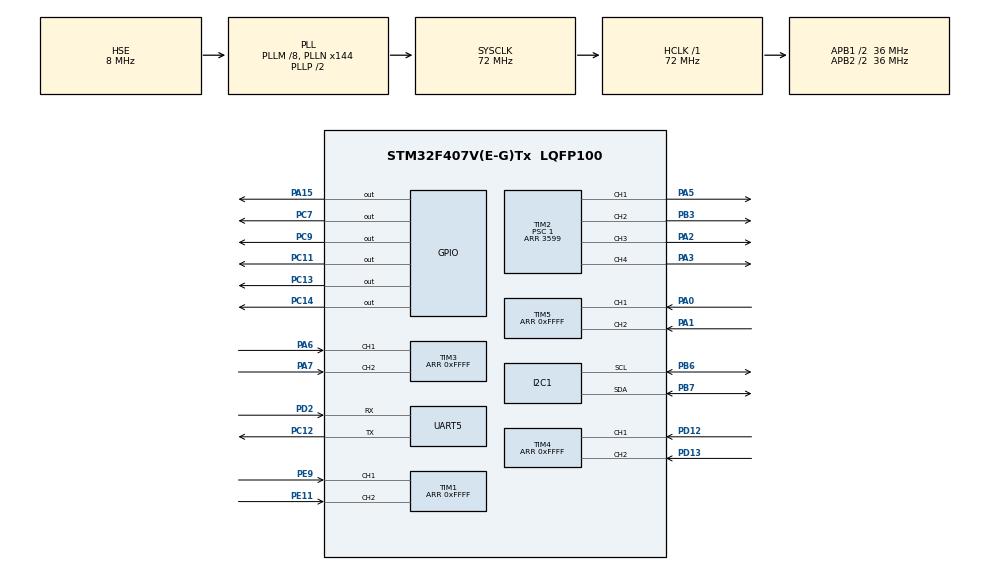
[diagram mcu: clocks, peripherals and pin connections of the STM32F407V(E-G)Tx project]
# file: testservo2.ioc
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Dma.Request0=UART5_RX
Dma.Request1=UART5_TX
Dma.UART5_RX.0.Direction=DMA_PERIPH_TO_MEMORY
Dma.UART5_RX.0.FIFOMode=DMA_FIFOMODE_DISABLE
Dma.UART5_RX.0.Instance=DMA1_Stream0
Dma.UART5_RX.0.MemDataAlignment=DMA_MDATAALIGN_BYTE
Dma.UART5_RX.0.MemInc=DMA_MINC_ENABLE
Dma.UART5_RX.0.Mode=DMA_NORMAL
Dma.UART5_RX.0.PeriphDataAlignment=DMA_PDATAALIGN_BYTE
Dma.UART5_RX.0.PeriphInc=DMA_PINC_DISABLE
Dma.UART5_RX.0.Priority=DMA_PRIORITY_HIGH
Dma.UART5_TX.1.Direction=DMA_MEMORY_TO_PERIPH
Dma.UART5_TX.1.FIFOMode=DMA_FIFOMODE_DISABLE
Dma.UART5_TX.1.Instance=DMA1_Stream7
Dma.UART5_TX.1.MemDataAlignment=DMA_MDATAALIGN_BYTE
Dma.UART5_TX.1.MemInc=DMA_MINC_ENABLE
Dma.UART5_TX.1.Mode=DMA_NORMAL
Dma.UART5_TX.1.PeriphDataAlignment=DMA_PDATAALIGN_BYTE
Dma.UART5_TX.1.PeriphInc=DMA_PINC_DISABLE
Dma.UART5_TX.1.Priority=DMA_PRIORITY_HIGH
Mcu.Family=STM32F4
Mcu.Name=STM32F407V(E-G)Tx
Mcu.Package=LQFP100
NVIC.DMA1_Stream0_IRQn=true\:0\:0\:false\:false\:true\:false\:true
NVIC.DMA1_Stream7_IRQn=true\:0\:0\:false\:false\:true\:false\:true
NVIC.PriorityGroup=NVIC_PRIORITYGROUP_4
NVIC.TIM2_IRQn=true\:0\:0\:false\:false\:true\:true\:true
NVIC.TIM3_IRQn=true\:0\:0\:false\:false\:true\:true\:true
NVIC.TIM4_IRQn=true\:0\:0\:false\:false\:true\:true\:true
NVIC.TIM5_IRQn=true\:0\:0\:false\:false\:true\:true\:true
NVIC.UART5_IRQn=true\:0\:0\:false\:false\:true\:true\:true
PA0-WKUP.GPIO_PuPd=GPIO_PULLUP
PA0-WKUP.GPIO_Speed=GPIO_SPEED_FREQ_LOW
PA0-WKUP.Signal=S_TIM5_CH1
PA1.GPIO_PuPd=GPIO_PULLUP
PA1.GPIO_Speed=GPIO_SPEED_FREQ_LOW
PA1.Signal=S_TIM5_CH2
PA15.Signal=GPIO_Output
PA2.GPIO_Speed=GPIO_SPEED_FREQ_HIGH
PA2.Signal=S_TIM2_CH3
PA3.GPIO_Speed=GPIO_SPEED_FREQ_HIGH
PA3.Signal=S_TIM2_CH4
PA5.GPIO_Speed=GPIO_SPEED_FREQ_HIGH
PA5.Signal=S_TIM2_CH1_ETR
PA6.GPIO_PuPd=GPIO_PULLUP
PA6.GPIO_Speed=GPIO_SPEED_FREQ_LOW
PA6.Signal=S_TIM3_CH1
PA7.GPIO_PuPd=GPIO_PULLUP
PA7.Signal=S_TIM3_CH2
PB3.GPIO_Speed=GPIO_SPEED_FREQ_HIGH
PB3.Signal=S_TIM2_CH2
PB6.Mode=I2C
PB6.Signal=I2C1_SCL
PB7.Mode=I2C
PB7.Signal=I2C1_SDA
PC11.Signal=GPIO_Output
PC12.Mode=Asynchronous
PC12.Signal=UART5_TX
PC13-ANTI_TAMP.Signal=GPIO_Output
PC14-OSC32_IN.GPIO_PuPd=GPIO_PULLUP
PC14-OSC32_IN.PinState=GPIO_PIN_SET
PC14-OSC32_IN.Signal=GPIO_Output
PC7.Signal=GPIO_Output
PC9.Signal=GPIO_Output
PD12.GPIO_PuPd=GPIO_PULLUP
PD12.Signal=S_TIM4_CH1
PD13.GPIO_PuPd=GPIO_PULLUP
PD13.Signal=S_TIM4_CH2
PD2.Mode=Asynchronous
PD2.Signal=UART5_RX
PE11.GPIO_PuPd=GPIO_PULLUP
PE11.Signal=S_TIM1_CH2
PE9.GPIO_PuPd=GPIO_PULLUP
PE9.Signal=S_TIM1_CH1
PH0-OSC_IN.Mode=HSE-External-Oscillator
PH0-OSC_IN.Signal=RCC_OSC_IN
PH1-OSC_OUT.Mode=HSE-External-Oscillator
PH1-OSC_OUT.Signal=RCC_OSC_OUT
ProjectManager.HeapSize=0x200
ProjectManager.StackSize=0x400
ProjectManager.TargetToolchain=MDK-ARM V5
RCC.48MHZClocksFreq_Value=36000000
RCC.AHBFreq_Value=72000000
RCC.APB1CLKDivider=RCC_HCLK_DIV2
RCC.APB1Freq_Value=36000000
RCC.APB1TimFreq_Value=72000000
RCC.APB2CLKDivider=RCC_HCLK_DIV2
RCC.APB2Freq_Value=36000000
RCC.APB2TimFreq_Value=72000000
RCC.CortexFreq_Value=72000000
RCC.HCLKFreq_Value=72000000
RCC.HSE_VALUE=8000000
RCC.HSI_VALUE=16000000
RCC.LSE_VALUE=32768
RCC.PLLM=8
RCC.PLLN=144
RCC.PLLSourceVirtual=RCC_PLLSOURCE_HSE
RCC.SYSCLKFreq_VALUE=72000000
RCC.SYSCLKSource=RCC_SYSCLKSOURCE_PLLCLK
RCC.VCOOutputFreq_Value=144000000
SH.S_TIM1_CH1.0=TIM1_CH1,Encoder_Interface
SH.S_TIM1_CH2.0=TIM1_CH2,Encoder_Interface
SH.S_TIM2_CH1_ETR.0=TIM2_CH1,PWM Generation1 CH1
SH.S_TIM2_CH2.0=TIM2_CH2,PWM Generation2 CH2
SH.S_TIM2_CH3.0=TIM2_CH3,PWM Generation3 CH3
SH.S_TIM2_CH4.0=TIM2_CH4,PWM Generation4 CH4
SH.S_TIM3_CH1.0=TIM3_CH1,Encoder_Interface
SH.S_TIM3_CH2.0=TIM3_CH2,Encoder_Interface
SH.S_TIM4_CH1.0=TIM4_CH1,Encoder_Interface
SH.S_TIM4_CH2.0=TIM4_CH2,Encoder_Interface
SH.S_TIM5_CH1.0=TIM5_CH1,Encoder_Interface
SH.S_TIM5_CH2.0=TIM5_CH2,Encoder_Interface
TIM1.CounterMode=TIM_COUNTERMODE_UP
TIM1.EncoderMode=TIM_ENCODERMODE_TI12
TIM1.IC1Polarity=TIM_ICPOLARITY_FALLING
TIM1.IC2Polarity=TIM_ICPOLARITY_FALLING
TIM1.Period=0xFFFF
TIM2.Channel-PWM\ Generation1\ CH1=TIM_CHANNEL_1
TIM2.Channel-PWM\ Generation2\ CH2=TIM_CHANNEL_2
TIM2.Channel-PWM\ Generation3\ CH3=TIM_CHANNEL_3
TIM2.Channel-PWM\ Generation4\ CH4=TIM_CHANNEL_4
TIM2.Period=3599
TIM2.Prescaler=1
TIM3.EncoderMode=TIM_ENCODERMODE_TI12
TIM3.IC1Polarity=TIM_ICPOLARITY_FALLING
TIM3.IC2Polarity=TIM_ICPOLARITY_FALLING
TIM3.Period=0xFFFF
TIM4.EncoderMode=TIM_ENCODERMODE_TI12
TIM4.IC1Polarity=TIM_ICPOLARITY_FALLING
TIM4.IC2Polarity=TIM_ICPOLARITY_FALLING
TIM4.Period=0xFFFF
TIM5.EncoderMode=TIM_ENCODERMODE_TI12
TIM5.IC1Polarity=TIM_ICPOLARITY_FALLING
TIM5.IC2Polarity=TIM_ICPOLARITY_FALLING
TIM5.Period=0xFFFF
UART5.VirtualMode=Asynchronous
VP_TIM2_VS_ClockSourceINT.Mode=Internal
board=custom

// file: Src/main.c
/* USER CODE BEGIN Header */
/**
  ******************************************************************************
  * @file           : main.c
  * @brief          : Main program body
  ******************************************************************************
  * @attention
  *
  * <h2><center>&copy; Copyright (c) 2020 STMicroelectronics.
  * All rights reserved.</center></h2>
  *
  * This software component is licensed by ST under BSD 3-Clause license,
  * the "License"; You may not use this file except in compliance with the
  * License. You may obtain a copy of the License at:
  *                        opensource.org/licenses/BSD-3-Clause
  *
  ******************************************************************************
  */
/* USER CODE END Header */

#include "main.h"

/* USER CODE BEGIN Includes */
#include <string.h>
#include <stdio.h>                     /* This ert_main.c example uses printf/fflush */
#include <stdlib.h>
#include "stm32f4xx_hal_i2c.h"
#include "stm32f4xx_hal_gpio.h"
#include "stm32f4xx_it.h"
#include "SERVO.h"
#include "pca9685.h"
#include "pid_controller.h"
/* USER CODE END Includes */

/* USER CODE BEGIN PD */
#define SERVO_Motor1   0
#define SERVO_COUNT	6
#define BS 29
#define radius 0.039
#define len 0.21
//#define vmax 30.00
//#define vmin -30.00
#define pulmax 3500
#define pulmin 100
/* USER CODE END PD */

I2C_HandleTypeDef hi2c1;

TIM_HandleTypeDef htim1;
TIM_HandleTypeDef htim2;
TIM_HandleTypeDef htim3;
TIM_HandleTypeDef htim4;
TIM_HandleTypeDef htim5;

UART_HandleTypeDef huart5;
DMA_HandleTypeDef hdma_uart5_rx;
DMA_HandleTypeDef hdma_uart5_tx;

/* USER CODE BEGIN PV */
  uint8_t ActiveServo;
	char dma_buffer[BS], data_rx[BS];
	/**/
	static uint8_t set[7],bset[4];
	/**/
	char* i;
	int j=2000;
	float vvl = 0.00, vvr = 0.00;
	float pulfl = 0, pulfr = 0, pulbr = 0, pulbl = 0;

	PIDControl pidfl, pidfr, pidbr, pidbl;

	typedef struct
	{
		float ppr;
		float vmax;
		float vmin;
		float enco;
		float enco_pre;
		float vset;
		float v;
		float kp,ki,kd;
	}Wheelselect;
	Wheelselect whfl = {.ppr = 1491, .vmax = 1.23, .vmin = -1.23, .enco = 0, .enco_pre = 0, .vset=0.00, .v=0.00, .kp=0, .ki=0, .kd=0},
							whfr = {.ppr = 1491, .vmax = 1.23, .vmin = -1.23, .enco = 0, .enco_pre = 0, .vset=0.00, .v=0.00, .kp=0, .ki=0, .kd=0},
							whbr = {.ppr = 1700, .vmax = 1.23, .vmin = -1.23, .enco = 0, .enco_pre = 0, .vset=0.00, .v=0.00, .kp=0, .ki=0, .kd=0},
							whbl = {.ppr = 1700, .vmax = 1.23, .vmin = -1.23, .enco = 0, .enco_pre = 0, .vset=0.00, .v=0.00, .kp=0, .ki=0, .kd=0};
	typedef struct
		{
			int joint0;
			int joint1;
			int joint2;
			int joint3;
			int joint4;
			int joint5;
		}Jointangle;
	Jointangle curangle = {.joint0 = 0, .joint1 = 180, .joint2 = 90, .joint3 = 60, .joint4 = 50, .joint5 = 30},
						 posangle = {.joint0 = 0, .joint1 = 180, .joint2 = 90, .joint3 = 60, .joint4 = 50, .joint5 = 30};
/* USER CODE END PV */

void SystemClock_Config(void);
static void MX_GPIO_Init(void);
static void MX_DMA_Init(void);
static void MX_I2C1_Init(void);
static void MX_TIM1_Init(void);
static void MX_TIM2_Init(void);
static void MX_TIM3_Init(void);
static void MX_TIM4_Init(void);
static void MX_TIM5_Init(void);
static void MX_UART5_Init(void);
/* USER CODE BEGIN PFP */

void HAL_UART_TxCpltCallback(UART_HandleTypeDef *huart);
void HAL_UART_RxCpltCallback(UART_HandleTypeDef *huart);
void inversespeed(void);
float checkpul(float pul2check);
void split(char in[],uint8_t out[]);
float calspeed(int32_t value,int ppr);
void Rotate(int curangle, int posangle, uint8_t Channel);

/* USER CODE END PFP */

/* USER CODE BEGIN 0 */

/*ham ngat nhan du du lieu*/
void HAL_UART_RxCpltCallback(UART_HandleTypeDef *huart)
{
	HAL_UART_DMAStop(&huart5);
//	HAL_UART_Transmit(&huart5,"ok",3,0x200);
/*	char *tmp = dma_buffer;
	for(int tmp = 0; tmp <27;tmp++){
		data_rx[tmp] = dma_buffer[tmp];
	}
	memset(dma_buffer,0,sizeof(dma_buffer));
	if(strchr(data_rx,'S') != NULL){
		if(strchr(data_rx,'E') != NULL){
			HAL_UART_Transmit(&huart5,"ok",3,0x200);
		}
	}*/
	char *tmp = dma_buffer;
	if(strchr(dma_buffer,'S') != NULL){
		if(strchr(dma_buffer,'E') != NULL){
			HAL_UART_Transmit(&huart5,"ok",3,0x200);
			for(int l=0; l<BS; l++){
				data_rx[l] = *tmp++;
			}
		}
	}
	memset(dma_buffer,0,sizeof(dma_buffer));
	HAL_UART_DMAResume(&huart5);
	HAL_UART_Receive_DMA(&huart5,(uint8_t*)dma_buffer, BS);
}
/*het ham*/

/* USER CODE END 0 */

int main(void)
{

  /* MCU Configuration--------------------------------------------------------*/

  /* Reset of all peripherals, Initializes the Flash interface and the Systick. */
  HAL_Init();

  /* Configure the system clock */
  SystemClock_Config();

  /* Initialize all configured peripherals */
  MX_GPIO_Init();
  MX_DMA_Init();
  MX_I2C1_Init();
  MX_TIM1_Init();
  MX_TIM2_Init();
  MX_TIM3_Init();
  MX_TIM4_Init();
  MX_TIM5_Init();
  MX_UART5_Init();
  /* USER CODE BEGIN 2 */
	PCA9685_Init(&hi2c1);

	//khoi tao  Servo
	PCA9685_SetPwmFrequency(48);
	HAL_Delay(500);

	//khoi tao dong co
	HAL_TIM_PWM_Start(&htim2,TIM_CHANNEL_1);
	HAL_TIM_PWM_Start(&htim2,TIM_CHANNEL_2);
	HAL_TIM_PWM_Start(&htim2,TIM_CHANNEL_3);
	HAL_TIM_PWM_Start(&htim2,TIM_CHANNEL_4);

	bset[0]=0;
	bset[1]=0;
	//  HAL_Delay(2000);
	HAL_UART_Receive_DMA(&huart5,(uint8_t*)dma_buffer, BS);
	HAL_TIM_Encoder_Start(&htim1, TIM_CHANNEL_1 | TIM_CHANNEL_2);
	HAL_TIM_Encoder_Start(&htim5, TIM_CHANNEL_1 | TIM_CHANNEL_2);
	HAL_TIM_Encoder_Start(&htim3, TIM_CHANNEL_1 | TIM_CHANNEL_2);
	HAL_TIM_Encoder_Start(&htim4, TIM_CHANNEL_1 | TIM_CHANNEL_2);

	//khoitaoPID
	PIDInit(&pidfl,whfl.kp,whfl.ki,whfl.kd,0.005,whfl.vmin,whfl.vmax,AUTOMATIC,DIRECT);
	PIDInit(&pidfr,whfr.kp,whfr.ki,whfr.kd,0.005,whfr.vmin,whfr.vmax,AUTOMATIC,DIRECT);
	PIDInit(&pidbr,whbr.kp,whbr.ki,whbr.kd,0.005,whbr.vmin,whbr.vmax,AUTOMATIC,DIRECT);
	PIDInit(&pidbl,whbl.kp,whbl.ki,whbl.kd,0.005,whbl.vmin,whbl.vmax,AUTOMATIC,DIRECT);

	static float temp1;
  /* USER CODE END 2 */

  /* Infinite loop */
  /* USER CODE BEGIN WHILE */
  while (1)
  {
		/*bat dau ham ngat 5ms*/
		if(tick_flag ==1){
			tick_flag =0;
			//doc encoder
			whfl.enco = (int16_t)__HAL_TIM_GET_COUNTER(&htim5);
			whfr.enco = (int16_t)__HAL_TIM_GET_COUNTER(&htim1);
			whbr.enco = (int16_t)__HAL_TIM_GET_COUNTER(&htim3);
			whbl.enco = (int16_t)__HAL_TIM_GET_COUNTER(&htim4);

			__HAL_TIM_SET_COUNTER(&htim1,0);
			__HAL_TIM_SET_COUNTER(&htim5,0);
			__HAL_TIM_SET_COUNTER(&htim3,0);
			__HAL_TIM_SET_COUNTER(&htim4,0);

			//xu li chuoi nhan
			if(strchr(data_rx,'S') != NULL){
				if(strchr(data_rx,'E') != NULL){
					if(strchr(data_rx,'A') != NULL){
						char *tmp1 = strchr(data_rx,' ');
						tmp1 = strchr(tmp1,' ');
						//split(data_rx,set);
						split(tmp1,set);
					}
					if(strchr(data_rx,'B') != NULL){
						char *tmp1 = strchr(data_rx,' ');
						tmp1 = strchr(tmp1,' ');
						//split(data_rx,set);
						split(tmp1,bset);
					}
				}
			}
			/*het ham ngat 5ms*/

			//tinh van toc dai

			//tinh van toc dat
			inversespeed();

			vvl = -0.04;
			vvr = -0.04;

			//Dat thong so PID
			PIDTuningsSet(&pidfl,2.6,4,0.005);
			PIDTuningsSet(&pidbl,3,4,0.004);
			PIDTuningsSet(&pidfr,2.6,4,0.005);
			PIDTuningsSet(&pidbr,3,4,0.004);
//			}
			//PID for Front Left Wheel
			PIDInputSet(&pidfl,whfl.v);
			PIDSetpointSet(&pidfl,vvl);
			PIDCompute(&pidfl);
			if(vvl>=0)
				pidfl.output += 0.9*(vvl-0.08)+0.01;
			else
				pidfl.output += 0.9*(vvl+0.08)-0.01;
			pulfl=PIDOutputGet(&pidfl)/(whfl.vmax)*(pulmax-pulmin)+pulmin;
			pulfl = checkpul(pulfl);

			//PID for Front Right Wheel
			PIDInputSet(&pidfr,whfr.v);
			PIDSetpointSet(&pidfr,vvr);
			PIDCompute(&pidfr);
			if(vvr>=0)
				pidfr.output += 0.9*(vvr-0.08)+0.01;
			else
				pidfr.output += 0.9*(vvr+0.08)-0.01;
			pulfr=PIDOutputGet(&pidfr)/(whfr.vmax)*(pulmax-pulmin)+pulmin;
			pulfr = checkpul(pulfr);

			//PID for Back Right Wheel
			PIDInputSet(&pidbr,whbr.v);
			PIDSetpointSet(&pidbr,vvr);
			PIDCompute(&pidbr);
			if (vvr >=0)
				pidbr.output += 0.85*(vvr-0.08)+0.01;
			else
				pidbr.output += 0.85*(vvr+0.08)-0.01;
			pulbr=PIDOutputGet(&pidbr)/(whbr.vmax)*(pulmax-pulmin)+pulmin;
			pulbr = checkpul(pulbr);

			//PID for Back Left Wheel
			PIDInputSet(&pidbl,whbl.v);
			PIDSetpointSet(&pidbl,vvl);
			PIDCompute(&pidbl);
			if (vvl >=0)
				pidbl.output += 0.85*(vvl-0.08)+0.01;
			else
				pidbl.output += 0.85*(vvl+0.08)-0.01;
			pulbl=PIDOutputGet(&pidbl)/(whbl.vmax)*(pulmax-pulmin)+pulmin;
			pulbl = checkpul(pulbl);
		}

		whfl.v = calspeed(whfl.enco,whfl.ppr);
		whfr.v = calspeed(whfr.enco,whfr.ppr);
		whbr.v = calspeed(whbr.enco,whbr.ppr);
		whbl.v = calspeed(whbl.enco,whbl.ppr);

		/*xuat pwm cho 4 dong co*/

		if(pulfl >= 0){
			__HAL_TIM_SET_COMPARE(&htim2, TIM_CHANNEL_1,(uint16_t)pulfl);
			HAL_GPIO_WritePin(GPIOC,GPIO_PIN_7,GPIO_PIN_RESET);
		}else{
			int fltmp = 3599+pulfl;
			__HAL_TIM_SET_COMPARE(&htim2, TIM_CHANNEL_1, fltmp);
			HAL_GPIO_WritePin(GPIOC,GPIO_PIN_7,GPIO_PIN_SET);
		}

		if(pulfr >= 0){
			__HAL_TIM_SET_COMPARE(&htim2, TIM_CHANNEL_2, (uint16_t)pulfr);
			HAL_GPIO_WritePin(GPIOC,GPIO_PIN_9,GPIO_PIN_RESET);
	  }else{
			int frtmp = 3599+pulfr;
			__HAL_TIM_SET_COMPARE(&htim2, TIM_CHANNEL_2, frtmp);
			HAL_GPIO_WritePin(GPIOC,GPIO_PIN_9,GPIO_PIN_SET);
		}

		if(pulbr >= 0){
			__HAL_TIM_SET_COMPARE(&htim2, TIM_CHANNEL_3, (uint16_t)pulbr);
			HAL_GPIO_WritePin(GPIOA,GPIO_PIN_15,GPIO_PIN_RESET);
		}else{
			int brtmp = 3599+pulbr;
			__HAL_TIM_SET_COMPARE(&htim2, TIM_CHANNEL_3, brtmp);
			HAL_GPIO_WritePin(GPIOA,GPIO_PIN_15,GPIO_PIN_SET);
		}

		if(pulbl >= 0){
			__HAL_TIM_SET_COMPARE(&htim2, TIM_CHANNEL_4, (uint16_t)pulbl);
			HAL_GPIO_WritePin(GPIOC,GPIO_PIN_11,GPIO_PIN_RESET);
    }else{
			int bltmp = 3599+pulbl;
			__HAL_TIM_SET_COMPARE(&htim2, TIM_CHANNEL_4, bltmp);
			HAL_GPIO_WritePin(GPIOC,GPIO_PIN_11,GPIO_PIN_SET);
		}

////		if(j <3500) j+=5;
//		j=200;
//		__HAL_TIM_SET_COMPARE(&htim2, TIM_CHANNEL_1, j);
//		HAL_GPIO_WritePin(GPIOC,GPIO_PIN_7,GPIO_PIN_SET);
//
//		__HAL_TIM_SET_COMPARE(&htim2, TIM_CHANNEL_2, j);
//		HAL_GPIO_WritePin(GPIOC,GPIO_PIN_9,GPIO_PIN_SET);
//
//		__HAL_TIM_SET_COMPARE(&htim2, TIM_CHANNEL_4, j);
//		HAL_GPIO_WritePin(GPIOC,GPIO_PIN_11,GPIO_PIN_SET);
//
//		__HAL_TIM_SET_COMPARE(&htim2, TIM_CHANNEL_3, j);
//		HAL_GPIO_WritePin(GPIOA,GPIO_PIN_15,GPIO_PIN_SET);
//		HAL_Delay(10);
		/**/

    /* USER CODE END WHILE */

  }
}

void SystemClock_Config(void)
{
  RCC_OscInitTypeDef RCC_OscInitStruct = {0};
  RCC_ClkInitTypeDef RCC_ClkInitStruct = {0};

  /** Configure the main internal regulator output voltage
  */
  __HAL_RCC_PWR_CLK_ENABLE();
  __HAL_PWR_VOLTAGESCALING_CONFIG(PWR_REGULATOR_VOLTAGE_SCALE1);
  /** Initializes the CPU, AHB and APB busses clocks
  */
  RCC_OscInitStruct.OscillatorType = RCC_OSCILLATORTYPE_HSE;
  RCC_OscInitStruct.HSEState = RCC_HSE_ON;
  RCC_OscInitStruct.PLL.PLLState = RCC_PLL_ON;
  RCC_OscInitStruct.PLL.PLLSource = RCC_PLLSOURCE_HSE;
  RCC_OscInitStruct.PLL.PLLM = 8;
  RCC_OscInitStruct.PLL.PLLN = 144;
  RCC_OscInitStruct.PLL.PLLP = RCC_PLLP_DIV2;
  RCC_OscInitStruct.PLL.PLLQ = 4;
  if (HAL_RCC_OscConfig(&RCC_OscInitStruct) != HAL_OK)
  {
    Error_Handler();
  }
  /** Initializes the CPU, AHB and APB busses clocks
  */
  RCC_ClkInitStruct.ClockType = RCC_CLOCKTYPE_HCLK|RCC_CLOCKTYPE_SYSCLK
                              |RCC_CLOCKTYPE_PCLK1|RCC_CLOCKTYPE_PCLK2;
  RCC_ClkInitStruct.SYSCLKSource = RCC_SYSCLKSOURCE_PLLCLK;
  RCC_ClkInitStruct.AHBCLKDivider = RCC_SYSCLK_DIV1;
  RCC_ClkInitStruct.APB1CLKDivider = RCC_HCLK_DIV2;
  RCC_ClkInitStruct.APB2CLKDivider = RCC_HCLK_DIV2;

  if (HAL_RCC_ClockConfig(&RCC_ClkInitStruct, FLASH_LATENCY_2) != HAL_OK)
  {
    Error_Handler();
  }
}

static void MX_I2C1_Init(void)
{

  hi2c1.Instance = I2C1;
  hi2c1.Init.ClockSpeed = 100000;
  hi2c1.Init.DutyCycle = I2C_DUTYCYCLE_2;
  hi2c1.Init.OwnAddress1 = 0;
  hi2c1.Init.AddressingMode = I2C_ADDRESSINGMODE_7BIT;
  hi2c1.Init.DualAddressMode = I2C_DUALADDRESS_DISABLE;
  hi2c1.Init.OwnAddress2 = 0;
  hi2c1.Init.GeneralCallMode = I2C_GENERALCALL_DISABLE;
  hi2c1.Init.NoStretchMode = I2C_NOSTRETCH_DISABLE;
  if (HAL_I2C_Init(&hi2c1) != HAL_OK)
  {
    Error_Handler();
  }

}

static void MX_TIM1_Init(void)
{

  TIM_Encoder_InitTypeDef sConfig = {0};
  TIM_MasterConfigTypeDef sMasterConfig = {0};

  htim1.Instance = TIM1;
  htim1.Init.Prescaler = 0;
  htim1.Init.CounterMode = TIM_COUNTERMODE_UP;
  htim1.Init.Period = 0xFFFF;
  htim1.Init.ClockDivision = TIM_CLOCKDIVISION_DIV1;
  htim1.Init.RepetitionCounter = 0;
  htim1.Init.AutoReloadPreload = TIM_AUTORELOAD_PRELOAD_DISABLE;
  sConfig.EncoderMode = TIM_ENCODERMODE_TI12;
  sConfig.IC1Polarity = TIM_ICPOLARITY_FALLING;
  sConfig.IC1Selection = TIM_ICSELECTION_DIRECTTI;
  sConfig.IC1Prescaler = TIM_ICPSC_DIV1;
  sConfig.IC1Filter = 0;
  sConfig.IC2Polarity = TIM_ICPOLARITY_FALLING;
  sConfig.IC2Selection = TIM_ICSELECTION_DIRECTTI;
  sConfig.IC2Prescaler = TIM_ICPSC_DIV1;
  sConfig.IC2Filter = 0;
  if (HAL_TIM_Encoder_Init(&htim1, &sConfig) != HAL_OK)
  {
    Error_Handler();
  }
  sMasterConfig.MasterOutputTrigger = TIM_TRGO_RESET;
  sMasterConfig.MasterSlaveMode = TIM_MASTERSLAVEMODE_DISABLE;
  if (HAL_TIMEx_MasterConfigSynchronization(&htim1, &sMasterConfig) != HAL_OK)
  {
    Error_Handler();
  }

}

static void MX_TIM2_Init(void)
{

  TIM_ClockConfigTypeDef sClockSourceConfig = {0};
  TIM_MasterConfigTypeDef sMasterConfig = {0};
  TIM_OC_InitTypeDef sConfigOC = {0};

  htim2.Instance = TIM2;
  htim2.Init.Prescaler = 1;
  htim2.Init.CounterMode = TIM_COUNTERMODE_UP;
  htim2.Init.Period = 3599;
  htim2.Init.ClockDivision = TIM_CLOCKDIVISION_DIV1;
  htim2.Init.AutoReloadPreload = TIM_AUTORELOAD_PRELOAD_DISABLE;
  if (HAL_TIM_Base_Init(&htim2) != HAL_OK)
  {
    Error_Handler();
  }
  sClockSourceConfig.ClockSource = TIM_CLOCKSOURCE_INTERNAL;
  if (HAL_TIM_ConfigClockSource(&htim2, &sClockSourceConfig) != HAL_OK)
  {
    Error_Handler();
  }
  if (HAL_TIM_PWM_Init(&htim2) != HAL_OK)
  {
    Error_Handler();
  }
  sMasterConfig.MasterOutputTrigger = TIM_TRGO_RESET;
  sMasterConfig.MasterSlaveMode = TIM_MASTERSLAVEMODE_DISABLE;
  if (HAL_TIMEx_MasterConfigSynchronization(&htim2, &sMasterConfig) != HAL_OK)
  {
    Error_Handler();
  }
  sConfigOC.OCMode = TIM_OCMODE_PWM1;
  sConfigOC.Pulse = 0;
  sConfigOC.OCPolarity = TIM_OCPOLARITY_HIGH;
  sConfigOC.OCFastMode = TIM_OCFAST_DISABLE;
  if (HAL_TIM_PWM_ConfigChannel(&htim2, &sConfigOC, TIM_CHANNEL_1) != HAL_OK)
  {
    Error_Handler();
  }
  if (HAL_TIM_PWM_ConfigChannel(&htim2, &sConfigOC, TIM_CHANNEL_2) != HAL_OK)
  {
    Error_Handler();
  }
  if (HAL_TIM_PWM_ConfigChannel(&htim2, &sConfigOC, TIM_CHANNEL_3) != HAL_OK)
  {
    Error_Handler();
  }
  if (HAL_TIM_PWM_ConfigChannel(&htim2, &sConfigOC, TIM_CHANNEL_4) != HAL_OK)
  {
    Error_Handler();
  }
  HAL_TIM_MspPostInit(&htim2);

}

static void MX_TIM3_Init(void)
{

  TIM_Encoder_InitTypeDef sConfig = {0};
  TIM_MasterConfigTypeDef sMasterConfig = {0};

  htim3.Instance = TIM3;
  htim3.Init.Prescaler = 0;
  htim3.Init.CounterMode = TIM_COUNTERMODE_UP;
  htim3.Init.Period = 0xFFFF;
  htim3.Init.ClockDivision = TIM_CLOCKDIVISION_DIV1;
  htim3.Init.AutoReloadPreload = TIM_AUTORELOAD_PRELOAD_DISABLE;
  sConfig.EncoderMode = TIM_ENCODERMODE_TI12;
  sConfig.IC1Polarity = TIM_ICPOLARITY_FALLING;
  sConfig.IC1Selection = TIM_ICSELECTION_DIRECTTI;
  sConfig.IC1Prescaler = TIM_ICPSC_DIV1;
  sConfig.IC1Filter = 0;
  sConfig.IC2Polarity = TIM_ICPOLARITY_FALLING;
  sConfig.IC2Selection = TIM_ICSELECTION_DIRECTTI;
  sConfig.IC2Prescaler = TIM_ICPSC_DIV1;
  sConfig.IC2Filter = 0;
  if (HAL_TIM_Encoder_Init(&htim3, &sConfig) != HAL_OK)
  {
    Error_Handler();
  }
  sMasterConfig.MasterOutputTrigger = TIM_TRGO_RESET;
  sMasterConfig.MasterSlaveMode = TIM_MASTERSLAVEMODE_DISABLE;
  if (HAL_TIMEx_MasterConfigSynchronization(&htim3, &sMasterConfig) != HAL_OK)
  {
    Error_Handler();
  }

}

static void MX_TIM4_Init(void)
{

  TIM_Encoder_InitTypeDef sConfig = {0};
  TIM_MasterConfigTypeDef sMasterConfig = {0};

  htim4.Instance = TIM4;
  htim4.Init.Prescaler = 0;
  htim4.Init.CounterMode = TIM_COUNTERMODE_UP;
  htim4.Init.Period = 0xFFFF;
  htim4.Init.ClockDivision = TIM_CLOCKDIVISION_DIV1;
  htim4.Init.AutoReloadPreload = TIM_AUTORELOAD_PRELOAD_DISABLE;
  sConfig.EncoderMode = TIM_ENCODERMODE_TI12;
  sConfig.IC1Polarity = TIM_ICPOLARITY_FALLING;
  sConfig.IC1Selection = TIM_ICSELECTION_DIRECTTI;
  sConfig.IC1Prescaler = TIM_ICPSC_DIV1;
  sConfig.IC1Filter = 0;
  sConfig.IC2Polarity = TIM_ICPOLARITY_FALLING;
  sConfig.IC2Selection = TIM_ICSELECTION_DIRECTTI;
  sConfig.IC2Prescaler = TIM_ICPSC_DIV1;
  sConfig.IC2Filter = 0;
  if (HAL_TIM_Encoder_Init(&htim4, &sConfig) != HAL_OK)
  {
    Error_Handler();
  }
  sMasterConfig.MasterOutputTrigger = TIM_TRGO_RESET;
  sMasterConfig.MasterSlaveMode = TIM_MASTERSLAVEMODE_DISABLE;
  if (HAL_TIMEx_MasterConfigSynchronization(&htim4, &sMasterConfig) != HAL_OK)
  {
    Error_Handler();
  }

}

static void MX_TIM5_Init(void)
{

  TIM_Encoder_InitTypeDef sConfig = {0};
  TIM_MasterConfigTypeDef sMasterConfig = {0};

  htim5.Instance = TIM5;
  htim5.Init.Prescaler = 0;
  htim5.Init.CounterMode = TIM_COUNTERMODE_UP;
  htim5.Init.Period = 0xFFFF;
  htim5.Init.ClockDivision = TIM_CLOCKDIVISION_DIV1;
  htim5.Init.AutoReloadPreload = TIM_AUTORELOAD_PRELOAD_DISABLE;
  sConfig.EncoderMode = TIM_ENCODERMODE_TI12;
  sConfig.IC1Polarity = TIM_ICPOLARITY_FALLING;
  sConfig.IC1Selection = TIM_ICSELECTION_DIRECTTI;
  sConfig.IC1Prescaler = TIM_ICPSC_DIV1;
  sConfig.IC1Filter = 0;
  sConfig.IC2Polarity = TIM_ICPOLARITY_FALLING;
  sConfig.IC2Selection = TIM_ICSELECTION_DIRECTTI;
  sConfig.IC2Prescaler = TIM_ICPSC_DIV1;
  sConfig.IC2Filter = 0;
  if (HAL_TIM_Encoder_Init(&htim5, &sConfig) != HAL_OK)
  {
    Error_Handler();
  }
  sMasterConfig.MasterOutputTrigger = TIM_TRGO_RESET;
  sMasterConfig.MasterSlaveMode = TIM_MASTERSLAVEMODE_DISABLE;
  if (HAL_TIMEx_MasterConfigSynchronization(&htim5, &sMasterConfig) != HAL_OK)
  {
    Error_Handler();
  }

}

static void MX_UART5_Init(void)
{

  huart5.Instance = UART5;
  huart5.Init.BaudRate = 115200;
  huart5.Init.WordLength = UART_WORDLENGTH_8B;
  huart5.Init.StopBits = UART_STOPBITS_1;
  huart5.Init.Parity = UART_PARITY_NONE;
  huart5.Init.Mode = UART_MODE_TX_RX;
  huart5.Init.HwFlowCtl = UART_HWCONTROL_NONE;
  huart5.Init.OverSampling = UART_OVERSAMPLING_16;
  if (HAL_UART_Init(&huart5) != HAL_OK)
  {
    Error_Handler();
  }

}

static void MX_DMA_Init(void)
{

  /* DMA controller clock enable */
  __HAL_RCC_DMA1_CLK_ENABLE();

  /* DMA interrupt init */
  /* DMA1_Stream0_IRQn interrupt configuration */
  HAL_NVIC_SetPriority(DMA1_Stream0_IRQn, 0, 0);
  HAL_NVIC_EnableIRQ(DMA1_Stream0_IRQn);
  /* DMA1_Stream7_IRQn interrupt configuration */
  HAL_NVIC_SetPriority(DMA1_Stream7_IRQn, 0, 0);
  HAL_NVIC_EnableIRQ(DMA1_Stream7_IRQn);

}

static void MX_GPIO_Init(void)
{
  GPIO_InitTypeDef GPIO_InitStruct = {0};

  /* GPIO Ports Clock Enable */
  __HAL_RCC_GPIOC_CLK_ENABLE();
  __HAL_RCC_GPIOH_CLK_ENABLE();
  __HAL_RCC_GPIOA_CLK_ENABLE();
  __HAL_RCC_GPIOE_CLK_ENABLE();
  __HAL_RCC_GPIOD_CLK_ENABLE();
  __HAL_RCC_GPIOB_CLK_ENABLE();

  /*Configure GPIO pin Output Level */
  HAL_GPIO_WritePin(GPIOC, GPIO_PIN_13|GPIO_PIN_7|GPIO_PIN_9|GPIO_PIN_11, GPIO_PIN_RESET);

  /*Configure GPIO pin Output Level */
  HAL_GPIO_WritePin(GPIOC, GPIO_PIN_14, GPIO_PIN_SET);

  /*Configure GPIO pin Output Level */
  HAL_GPIO_WritePin(GPIOA, GPIO_PIN_15, GPIO_PIN_RESET);

  /*Configure GPIO pins : PC13 PC7 PC9 PC11 */
  GPIO_InitStruct.Pin = GPIO_PIN_13|GPIO_PIN_7|GPIO_PIN_9|GPIO_PIN_11;
  GPIO_InitStruct.Mode = GPIO_MODE_OUTPUT_PP;
  GPIO_InitStruct.Pull = GPIO_NOPULL;
  GPIO_InitStruct.Speed = GPIO_SPEED_FREQ_LOW;
  HAL_GPIO_Init(GPIOC, &GPIO_InitStruct);

  /*Configure GPIO pin : PC14 */
  GPIO_InitStruct.Pin = GPIO_PIN_14;
  GPIO_InitStruct.Mode = GPIO_MODE_OUTPUT_PP;
  GPIO_InitStruct.Pull = GPIO_PULLUP;
  GPIO_InitStruct.Speed = GPIO_SPEED_FREQ_LOW;
  HAL_GPIO_Init(GPIOC, &GPIO_InitStruct);

  /*Configure GPIO pin : PA15 */
  GPIO_InitStruct.Pin = GPIO_PIN_15;
  GPIO_InitStruct.Mode = GPIO_MODE_OUTPUT_PP;
  GPIO_InitStruct.Pull = GPIO_NOPULL;
  GPIO_InitStruct.Speed = GPIO_SPEED_FREQ_LOW;
  HAL_GPIO_Init(GPIOA, &GPIO_InitStruct);

}

/* USER CODE BEGIN 4 */
void split(char in[], uint8_t out[])
{
	char* token = strtok(in," ");
	char* ptr;
	uint8_t k=0;
	while( token != NULL ) {
			out[k] = strtod(token,&ptr);
      token = strtok(NULL, " ");
			k++;
   }
}

float calspeed(int32_t value,  int ppr)
{
	float 	p = 0.00, v = 0.00;

	p = (float)value*(1.00/ppr)*(1000.00/5.00)*60; //rpm
	v = radius*2.00*3.1416*p*(1.00/60.00); // m/s
	return v;
}

void inversespeed(void)
{
	float vc_set = (float)bset[0]/100000.00000;
	float omegac_set = (float)bset[1]/100.00;
	vvl = (2*vc_set-omegac_set*len)/2;
	vvr = (2*vc_set+omegac_set*len)/2;
	if(vvl>1.23){
		vvl = 1.23;
	}
	if(vvr>1.23){
		vvr = 1.23;
	}
}

float checkpul(float pul2check){
	if((pul2check)>=pulmax){
		pul2check = pulmax-1;
	}else if(pul2check <-pulmax){
		pul2check = -pulmax+1;
	}
	return pul2check;
}

void Rotate(int curangle, int posangle, uint8_t Channel){
	int anglemax = 180, anglemin = 0;
	if(Channel == 0) anglemax = 10;
	if(Channel == 4) anglemin = 30;

	if(curangle >anglemax) curangle = anglemax;
	else if(curangle <anglemin) curangle = anglemin;

	if(Channel == 5) curangle =  curangle*2/3;

	if(curangle >= posangle){
		int tmp1;
		for(tmp1 = posangle; tmp1 <=  curangle; tmp1++){
			PCA9685_SetServoAngle(Channel, tmp1);
			HAL_Delay(7);
		}
	} else {
		int tmp2;
		for(tmp2 = posangle; tmp2 >= curangle; tmp2--){
			PCA9685_SetServoAngle(Channel, tmp2);
			HAL_Delay(7);
		}
	}
}
/* USER CODE END 4 */

void Error_Handler(void)
{
}

/************************ (C) COPYRIGHT STMicroelectronics *****END OF FILE****/
